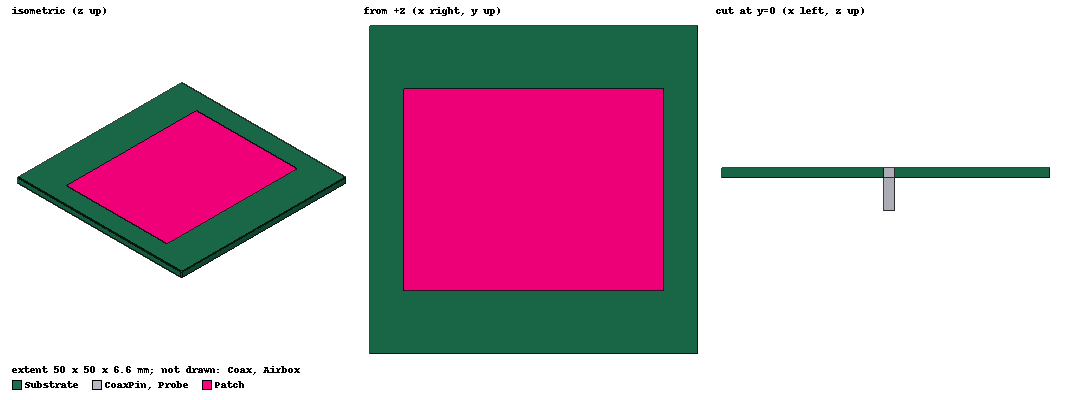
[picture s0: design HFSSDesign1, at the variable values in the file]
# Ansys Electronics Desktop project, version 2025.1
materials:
  vacuum: permittivity=1
  FR4_epoxy: permittivity=4.4 dielectric_loss_tangent=0.02
  pec: conductivity=1e+30

design HFSSDesign1 (HFSS, HFSS Terminal Network, model units mm)
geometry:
  Substrate [FR4_epoxy] = box(corner=(-25mm, -25mm, 0mm), size=(50mm, 50mm, 1.6mm))
  Ground = rectangle(corner=(-25mm, -25mm, 0mm), x_size=50mm, y_size=50mm)
  Hole = circle(normal=Z, centre=(-0.5mm, 0mm, 0mm), radius=1.6mm)
  Ground.subtract(Hole)
  Patch = rectangle(corner=(-19.83mm, -15.365mm, 1.6mm), x_size=39.66mm, y_size=30.73mm)
  Coax [vacuum] = cylinder(axis=Z, base_centre=(-0.5mm, 0mm, 0mm), radius=1.6mm, height=-5mm)
  CoaxPin [pec] = cylinder(axis=Z, base_centre=(-0.5mm, 0mm, 0mm), radius=0.8mm, height=-5mm)
  Probe [pec] = cylinder(axis=Z, base_centre=(-0.5mm, 0mm, 0mm), radius=0.8mm, height=1.6mm)
  Airbox [vacuum] = box(corner=(-25mm, -25mm, 0mm), size=(50mm, 50mm, 2mm))
  Port = circle(normal=Z, centre=(-0.5mm, 0mm, -5mm), radius=1.6mm)
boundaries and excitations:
  PerfE1: Perfect E Objects=Ground
  PerfE2: Perfect E Objects=Patch
  Rad1: Radiation Faces=Airbox.face(+y, +x, +z, -y, -x)
  1: Wave Port Objects=Port WavePortType=Modal NumModes=1 Modes{Mode1{CharImp=Zpi}}
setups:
  2_3GHz: HfssDriven Frequency=2.3GHz MaxDeltaS=0.02 MaximumPasses=20 MinimumPasses=1 MinimumConvergedPasses=1 PercentRefinement=30 BasisOrder=1 PortAccuracy=2 DrivenSolverType="Direct Solver"
    sweep Sweep: 1GHz to 10GHz, 401 points; Type=Fast SaveFields
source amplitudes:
  1:1: 1V 0deg
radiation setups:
  Infinite Sphere1: Infinite Sphere Theta=0deg..180deg step 2deg Phi=-180deg..180deg step 2deg
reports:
  S Parameter Plot1: dB(S(1,1)) vs Freq on 2_3GHz : Sweep
  Gain Plot1: GainTotal vs Phi, Theta on 2_3GHz : LastAdaptive, Infinite Sphere1 [Freq=2.3GHz]
